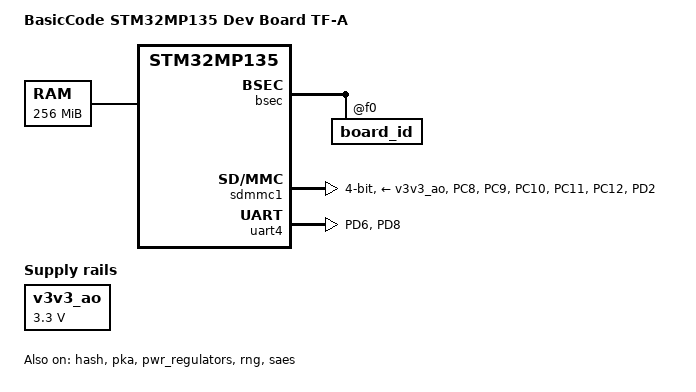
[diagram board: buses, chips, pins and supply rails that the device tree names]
// SPDX-License-Identifier: (GPL-2.0-or-later OR BSD-3-Clause)
/*
 * Copyright (C) 2023, STMicroelectronics - All Rights Reserved
 * Author: STM32CubeMX code generation for STMicroelectronics.
 */

/* For more information on Device Tree configuration, please refer to
 * https://wiki.st.com/stm32mpu/wiki/Category:Device_tree_configuration
 */

/dts-v1/;
#include <dt-bindings/pinctrl/stm32-pinfunc.h>
#include <dt-bindings/clock/stm32mp13-clksrc.h>

#include "stm32mp135.dtsi"
#include "stm32mp13xf.dtsi"
#include "stm32mp13-pinctrl.dtsi"

#include "stm32mp135_dev_board-tf-a.dtsi"

/* USER CODE BEGIN includes */
/* USER CODE END includes */

/ {
	model = "BasicCode STM32MP135 Dev Board TF-A";
	compatible = "st,stm32mp135";

	memory@c0000000 {
		device_type = "memory";
		reg = <0xc0000000 0x10000000>;
	};

	/* USER CODE BEGIN root */

	aliases{
		serial0 = &uart4;
	};

	chosen{
		stdout-path = "serial0:115200n8";
	};

	v3v3_ao:v3v3_ao{
		compatible = "regulator-fixed";
		regulator-name = "v3v3_ao";
		regulator-min-microvolt = <3300000>;
		regulator-max-microvolt = <3300000>;
		regulator-always-on;
	};
	vddcpu:vddcpu{
		regulator-name = "vddcpu";
		regulator-min-microvolt = <1350000>;
		regulator-max-microvolt = <1350000>;
		regulator-always-on;
		regulator-over-current-protection;
	};
	vdd:vdd{
		regulator-name = "vdd";
		regulator-min-microvolt = <3300000>;
		regulator-max-microvolt = <3300000>;
		regulator-always-on;
		st,mask-reset;
		regulator-over-current-protection;
	};
	vdd_usb:vdd_usb{
		regulator-name = "vdd_usb";
		regulator-min-microvolt = <3300000>;
		regulator-max-microvolt = <3300000>;
		regulator-always-on;
	};
	/* USER CODE END root */

	clocks {
		/* USER CODE BEGIN clocks */
		/* USER CODE END clocks */

		clk_hsi: clk-hsi {
			clock-frequency = <64000000>;

			/* USER CODE BEGIN clk_hsi */
			/* USER CODE END clk_hsi */
		};
		clk_lse: clk-lse {
			clock-frequency = <32768>;
			st,drive = < LSEDRV_MEDIUM_HIGH >;

			/* USER CODE BEGIN clk_lse */
			/* USER CODE END clk_lse */
		};
		clk_hse: clk-hse {
			clock-frequency = <24000000>;

			/* USER CODE BEGIN clk_hse */
			/* USER CODE END clk_hse */
		};
		clk_i2sin: clk-i2sin {
			status = "disabled";

			/* USER CODE BEGIN clk_i2sin */
			/* USER CODE END clk_i2sin */
		};
	};

}; /*root*/

&pinctrl {

	sdmmc1_pins_mx: sdmmc1_mx-0 {
		pins {
			pinmux = <STM32_PINMUX('C', 8, AF12)>, /* SDMMC1_D0 */
					 <STM32_PINMUX('C', 9, AF12)>, /* SDMMC1_D1 */
					 <STM32_PINMUX('C', 10, AF12)>, /* SDMMC1_D2 */
					 <STM32_PINMUX('C', 11, AF12)>, /* SDMMC1_D3 */
					 <STM32_PINMUX('C', 12, AF12)>, /* SDMMC1_CK */
					 <STM32_PINMUX('D', 2, AF12)>; /* SDMMC1_CMD */
			bias-disable;
			drive-push-pull;
			slew-rate = <1>;
		};
	};

	uart4_pins_mx: uart4_mx-0 {
		pins1 {
			pinmux = <STM32_PINMUX('D', 6, AF8)>; /* UART4_TX */
			bias-disable;
			drive-push-pull;
			slew-rate = <0>;
		};
		pins2 {
			pinmux = <STM32_PINMUX('D', 8, AF8)>; /* UART4_RX */
			bias-disable;
		};
	};

	/* USER CODE BEGIN pinctrl */
	/* USER CODE END pinctrl */
};

&bsec{
	status = "okay";

	/* USER CODE BEGIN bsec */

	board_id:board_id@f0{
		reg = <0xf0 0x4>;
		st,non-secure-otp;
	};
	/* USER CODE END bsec */
};

&hash{
	status = "okay";

	/* USER CODE BEGIN hash */
	/* USER CODE END hash */
};
/*
&iwdg1{
	status = "okay";
	timeout-sec = <32>;
};
*/

&pka{
	status = "okay";

	/* USER CODE BEGIN pka */
	/* USER CODE END pka */
};

&pwr_regulators{
	status = "okay";

	/* USER CODE BEGIN pwr_regulators */
	vdd-supply = <&vdd>;
	vdd_3v3_usbfs-supply = <&vdd_usb>;
	/* USER CODE END pwr_regulators */
};

&rcc{
	status = "okay";

	/* USER CODE BEGIN rcc */
	/* USER CODE END rcc */

	st,clksrc = <
		CLK_MPU_PLL1P
		CLK_AXI_PLL2P
		CLK_MLAHBS_PLL3
		CLK_CKPER_HSE
		CLK_SDMMC1_PLL4P
		CLK_STGEN_HSE
		CLK_I2C4_HSI
		CLK_UART4_HSI
		CLK_RNG1_PLL4R
		CLK_SAES_AXI
	>;
	st,clkdiv = <
		DIV(DIV_MPU, 1)
		DIV(DIV_AXI, 0)
		DIV(DIV_MLAHB, 0)
		DIV(DIV_APB1, 1)
		DIV(DIV_APB2, 1)
		DIV(DIV_APB3, 1)
		DIV(DIV_APB4, 1)
		DIV(DIV_APB5, 2)
		DIV(DIV_APB6, 1)
	>;
	st,pll_vco {
		pll1_vco_1300Mhz: pll1-vco-1300Mhz {
			src = <CLK_PLL12_HSE>;
			divmn = <2 80>;
			frac = <0x800>;
		};
		pll2_vco_1066Mhz: pll2-vco-1066Mhz {
			src = < CLK_PLL12_HSE >;
			divmn = < 2 65 >;
			frac = < 0x1400 >;
		};
		pll3_vco_417Mhz: pll3-vco-417Mhz {
			src = < CLK_PLL3_HSE >;
			divmn = < 1 33 >;
			frac = < 0x1a04 >;
		};
		pll4_vco_600Mhz: pll4-vco-600Mhz {
			src = < CLK_PLL4_HSE >;
			divmn = < 1 49 >;
		};
	};

	pll1:st,pll@0 {
		compatible = "st,stm32mp1-pll";
		reg = <0>;

		st,pll = < &pll1_cfg1 >;

		pll1_cfg1: pll1_cfg1 {
			st,pll_vco = <&pll1_vco_1300Mhz>;
			st,pll_div_pqr = <0 1 1>;
		};
	};

	pll2:st,pll@1 {
		compatible = "st,stm32mp1-pll";
		reg = <1>;

		st,pll = < &pll2_cfg1 >;

		pll2_cfg1: pll2_cfg1 {
			st,pll_vco = < &pll2_vco_1066Mhz >;
			st,pll_div_pqr = < 1 1 0 >;
		};
		/* USER CODE BEGIN pll2 */
		/* USER CODE END pll2 */
	};

	pll3:st,pll@2 {
		compatible = "st,stm32mp1-pll";
		reg = <2>;

		st,pll = < &pll3_cfg1 >;

		pll3_cfg1: pll3_cfg1 {
			st,pll_vco = < &pll3_vco_417Mhz >;
			st,pll_div_pqr = < 1 16 36 >;
		};
		/* USER CODE BEGIN pll3 */
		/* USER CODE END pll3 */
	};

	pll4:st,pll@3 {
		compatible = "st,stm32mp1-pll";
		reg = <3>;

		st,pll = < &pll4_cfg1 >;

		pll4_cfg1: pll4_cfg1 {
			st,pll_vco = < &pll4_vco_600Mhz >;
			st,pll_div_pqr = < 11 59 11 >;
		};
		/* USER CODE BEGIN pll4 */
		/* USER CODE END pll4 */
	};
};

&rng{
	status = "okay";

	/* USER CODE BEGIN rng */
	/* USER CODE END rng */
};

&saes{
	status = "okay";

	/* USER CODE BEGIN saes */
	/* USER CODE END saes */
};

&sdmmc1{
	pinctrl-names = "default";
	pinctrl-0 = <&sdmmc1_pins_mx>;
	status = "okay";

	disable-wp;
	st,neg-edge;
	bus-width = <4>;
	vmmc-supply = <&v3v3_ao>;
};

&uart4{
	pinctrl-names = "default";
	pinctrl-0 = <&uart4_pins_mx>;
	status = "okay";

	/* USER CODE BEGIN uart4 */
	/* USER CODE END uart4 */
};

&cpu0 {
	cpu-supply = <&vddcpu>;
};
